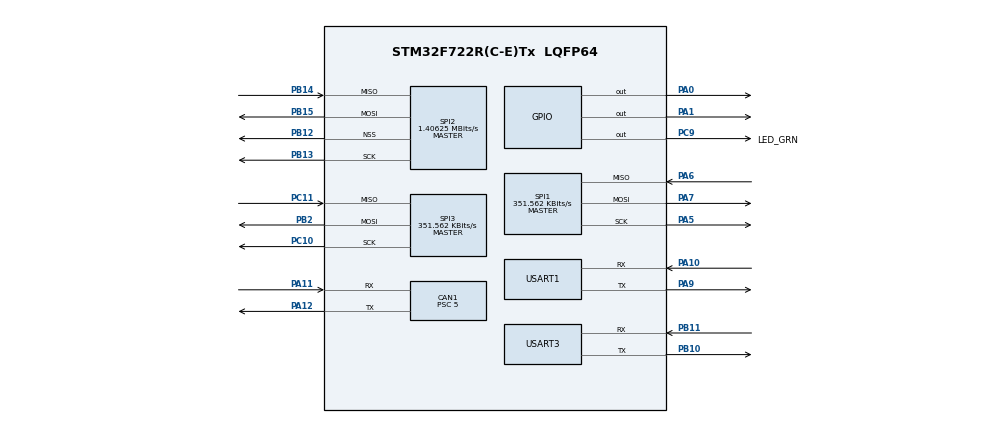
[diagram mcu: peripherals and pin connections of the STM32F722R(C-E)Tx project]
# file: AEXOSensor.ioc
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CAN1.BS1=CAN_BS1_14TQ
CAN1.BS2=CAN_BS2_1TQ
CAN1.CalculateTimeBit=1000
CAN1.CalculateTimeQuantum=111.11111111111111
CAN1.Prescaler=5
Dma.Request0=USART3_RX
Dma.Request1=SPI3_TX
Dma.Request2=SPI3_RX
Dma.Request3=SPI1_TX
Dma.Request4=SPI1_RX
Dma.Request5=SPI2_TX
Dma.Request6=SPI2_RX
Dma.SPI1_RX.4.Direction=DMA_PERIPH_TO_MEMORY
Dma.SPI1_RX.4.FIFOMode=DMA_FIFOMODE_DISABLE
Dma.SPI1_RX.4.Instance=DMA2_Stream0
Dma.SPI1_RX.4.MemDataAlignment=DMA_MDATAALIGN_HALFWORD
Dma.SPI1_RX.4.MemInc=DMA_MINC_ENABLE
Dma.SPI1_RX.4.Mode=DMA_NORMAL
Dma.SPI1_RX.4.PeriphDataAlignment=DMA_PDATAALIGN_HALFWORD
Dma.SPI1_RX.4.PeriphInc=DMA_PINC_DISABLE
Dma.SPI1_RX.4.Priority=DMA_PRIORITY_LOW
Dma.SPI1_TX.3.Direction=DMA_MEMORY_TO_PERIPH
Dma.SPI1_TX.3.FIFOMode=DMA_FIFOMODE_DISABLE
Dma.SPI1_TX.3.Instance=DMA2_Stream3
Dma.SPI1_TX.3.MemDataAlignment=DMA_MDATAALIGN_HALFWORD
Dma.SPI1_TX.3.MemInc=DMA_MINC_ENABLE
Dma.SPI1_TX.3.Mode=DMA_NORMAL
Dma.SPI1_TX.3.PeriphDataAlignment=DMA_PDATAALIGN_HALFWORD
Dma.SPI1_TX.3.PeriphInc=DMA_PINC_DISABLE
Dma.SPI1_TX.3.Priority=DMA_PRIORITY_LOW
Dma.SPI2_RX.6.Direction=DMA_PERIPH_TO_MEMORY
Dma.SPI2_RX.6.FIFOMode=DMA_FIFOMODE_DISABLE
Dma.SPI2_RX.6.Instance=DMA1_Stream3
Dma.SPI2_RX.6.MemDataAlignment=DMA_MDATAALIGN_HALFWORD
Dma.SPI2_RX.6.MemInc=DMA_MINC_ENABLE
Dma.SPI2_RX.6.Mode=DMA_NORMAL
Dma.SPI2_RX.6.PeriphDataAlignment=DMA_PDATAALIGN_HALFWORD
Dma.SPI2_RX.6.PeriphInc=DMA_PINC_DISABLE
Dma.SPI2_RX.6.Priority=DMA_PRIORITY_LOW
Dma.SPI2_TX.5.Direction=DMA_MEMORY_TO_PERIPH
Dma.SPI2_TX.5.FIFOMode=DMA_FIFOMODE_DISABLE
Dma.SPI2_TX.5.Instance=DMA1_Stream4
Dma.SPI2_TX.5.MemDataAlignment=DMA_MDATAALIGN_HALFWORD
Dma.SPI2_TX.5.MemInc=DMA_MINC_ENABLE
Dma.SPI2_TX.5.Mode=DMA_NORMAL
Dma.SPI2_TX.5.PeriphDataAlignment=DMA_PDATAALIGN_HALFWORD
Dma.SPI2_TX.5.PeriphInc=DMA_PINC_DISABLE
Dma.SPI2_TX.5.Priority=DMA_PRIORITY_LOW
Dma.SPI3_RX.2.Direction=DMA_PERIPH_TO_MEMORY
Dma.SPI3_RX.2.FIFOMode=DMA_FIFOMODE_DISABLE
Dma.SPI3_RX.2.Instance=DMA1_Stream0
Dma.SPI3_RX.2.MemDataAlignment=DMA_MDATAALIGN_HALFWORD
Dma.SPI3_RX.2.MemInc=DMA_MINC_ENABLE
Dma.SPI3_RX.2.Mode=DMA_NORMAL
Dma.SPI3_RX.2.PeriphDataAlignment=DMA_PDATAALIGN_HALFWORD
Dma.SPI3_RX.2.PeriphInc=DMA_PINC_DISABLE
Dma.SPI3_RX.2.Priority=DMA_PRIORITY_LOW
Dma.SPI3_TX.1.Direction=DMA_MEMORY_TO_PERIPH
Dma.SPI3_TX.1.FIFOMode=DMA_FIFOMODE_DISABLE
Dma.SPI3_TX.1.Instance=DMA1_Stream5
Dma.SPI3_TX.1.MemDataAlignment=DMA_MDATAALIGN_HALFWORD
Dma.SPI3_TX.1.MemInc=DMA_MINC_ENABLE
Dma.SPI3_TX.1.Mode=DMA_NORMAL
Dma.SPI3_TX.1.PeriphDataAlignment=DMA_PDATAALIGN_HALFWORD
Dma.SPI3_TX.1.PeriphInc=DMA_PINC_DISABLE
Dma.SPI3_TX.1.Priority=DMA_PRIORITY_LOW
Dma.USART3_RX.0.Direction=DMA_PERIPH_TO_MEMORY
Dma.USART3_RX.0.FIFOMode=DMA_FIFOMODE_DISABLE
Dma.USART3_RX.0.Instance=DMA1_Stream1
Dma.USART3_RX.0.MemDataAlignment=DMA_MDATAALIGN_BYTE
Dma.USART3_RX.0.MemInc=DMA_MINC_ENABLE
Dma.USART3_RX.0.Mode=DMA_CIRCULAR
Dma.USART3_RX.0.PeriphDataAlignment=DMA_PDATAALIGN_BYTE
Dma.USART3_RX.0.PeriphInc=DMA_PINC_DISABLE
Dma.USART3_RX.0.Priority=DMA_PRIORITY_LOW
Mcu.Family=STM32F7
Mcu.Name=STM32F722R(C-E)Tx
Mcu.Package=LQFP64
NVIC.CAN1_RX0_IRQn=true\:2\:0\:true\:false\:true\:true\:true
NVIC.DMA1_Stream0_IRQn=true\:0\:0\:false\:false\:true\:false\:true
NVIC.DMA1_Stream1_IRQn=true\:0\:0\:false\:false\:true\:false\:true
NVIC.DMA1_Stream3_IRQn=true\:0\:0\:false\:false\:true\:false\:true
NVIC.DMA1_Stream4_IRQn=true\:0\:0\:false\:false\:true\:false\:true
NVIC.DMA1_Stream5_IRQn=true\:0\:0\:false\:false\:true\:false\:true
NVIC.DMA2_Stream0_IRQn=true\:0\:0\:false\:false\:true\:false\:true
NVIC.DMA2_Stream3_IRQn=true\:0\:0\:false\:false\:true\:false\:true
NVIC.PriorityGroup=NVIC_PRIORITYGROUP_4
NVIC.TIM2_IRQn=true\:3\:0\:true\:false\:true\:true\:true
NVIC.USART1_IRQn=true\:0\:0\:false\:false\:true\:true\:true
PA0-WKUP.Signal=GPIO_Output
PA1.Signal=GPIO_Output
PA10.Mode=Asynchronous
PA10.Signal=USART1_RX
PA11.Mode=Master
PA11.Signal=CAN1_RX
PA12.Mode=Master
PA12.Signal=CAN1_TX
PA13.Mode=JTAG_5_pins
PA13.Signal=SYS_JTMS-SWDIO
PA14.Mode=JTAG_5_pins
PA14.Signal=SYS_JTCK-SWCLK
PA15.Mode=JTAG_5_pins
PA15.Signal=SYS_JTDI
PA5.Mode=Full_Duplex_Master
PA5.Signal=SPI1_SCK
PA6.Mode=Full_Duplex_Master
PA6.Signal=SPI1_MISO
PA7.Mode=Full_Duplex_Master
PA7.Signal=SPI1_MOSI
PA9.Mode=Asynchronous
PA9.Signal=USART1_TX
PB10.Mode=Asynchronous
PB10.Signal=USART3_TX
PB11.Mode=Asynchronous
PB11.Signal=USART3_RX
PB12.Mode=NSS_Signal_Hard_Output
PB12.Signal=SPI2_NSS
PB13.Mode=Full_Duplex_Master
PB13.Signal=SPI2_SCK
PB14.Mode=Full_Duplex_Master
PB14.Signal=SPI2_MISO
PB15.Mode=Full_Duplex_Master
PB15.Signal=SPI2_MOSI
PB2.Mode=Full_Duplex_Master
PB2.Signal=SPI3_MOSI
PB3.Mode=JTAG_5_pins
PB3.Signal=SYS_JTDO-SWO
PB4.Mode=JTAG_5_pins
PB4.Signal=SYS_JTRST
PC10.Mode=Full_Duplex_Master
PC10.Signal=SPI3_SCK
PC11.Mode=Full_Duplex_Master
PC11.Signal=SPI3_MISO
PC9.GPIO_Label=LED_GRN
PC9.Signal=GPIO_Output
PH0-OSC_IN.Mode=HSE-External-Oscillator
PH0-OSC_IN.Signal=RCC_OSC_IN
PH1-OSC_OUT.Mode=HSE-External-Oscillator
PH1-OSC_OUT.Signal=RCC_OSC_OUT
ProjectManager.HeapSize=0x200
ProjectManager.StackSize=0x400
ProjectManager.TargetToolchain=EWARM V8
RCC.AHBFreq_Value=180000000
RCC.APB1CLKDivider=RCC_HCLK_DIV4
RCC.APB1Freq_Value=45000000
RCC.APB1TimFreq_Value=90000000
RCC.APB2CLKDivider=RCC_HCLK_DIV2
RCC.APB2Freq_Value=90000000
RCC.APB2TimFreq_Value=180000000
RCC.CortexFreq_Value=180000000
RCC.HCLKFreq_Value=180000000
RCC.HSE_VALUE=12000000
RCC.HSI_VALUE=16000000
RCC.LSE_VALUE=32768
RCC.PLLM=6
RCC.PLLN=180
RCC.PLLSourceVirtual=RCC_PLLSOURCE_HSE
RCC.SYSCLKFreq_VALUE=180000000
RCC.SYSCLKSource=RCC_SYSCLKSOURCE_PLLCLK
RCC.USBFreq_Value=180000000
RCC.VCOOutputFreq_Value=360000000
SPI1.BaudRatePrescaler=SPI_BAUDRATEPRESCALER_256
SPI1.CLKPhase=SPI_PHASE_2EDGE
SPI1.CLKPolarity=SPI_POLARITY_HIGH
SPI1.CalculateBaudRate=351.562 KBits/s
SPI1.DataSize=SPI_DATASIZE_13BIT
SPI1.Direction=SPI_DIRECTION_2LINES
SPI1.Mode=SPI_MODE_MASTER
SPI1.VirtualType=VM_MASTER
SPI2.BaudRatePrescaler=SPI_BAUDRATEPRESCALER_32
SPI2.CLKPhase=SPI_PHASE_2EDGE
SPI2.CLKPolarity=SPI_POLARITY_HIGH
SPI2.CalculateBaudRate=1.40625 MBits/s
SPI2.DataSize=SPI_DATASIZE_16BIT
SPI2.Direction=SPI_DIRECTION_2LINES
SPI2.Mode=SPI_MODE_MASTER
SPI2.VirtualNSS=VM_NSSHARD
SPI2.VirtualType=VM_MASTER
SPI3.BaudRatePrescaler=SPI_BAUDRATEPRESCALER_128
SPI3.CLKPhase=SPI_PHASE_2EDGE
SPI3.CLKPolarity=SPI_POLARITY_HIGH
SPI3.CalculateBaudRate=351.562 KBits/s
SPI3.DataSize=SPI_DATASIZE_13BIT
SPI3.Direction=SPI_DIRECTION_2LINES
SPI3.Mode=SPI_MODE_MASTER
SPI3.VirtualType=VM_MASTER
TIM1.Period=100
TIM1.Prescaler=1800
TIM2.Period=50
TIM2.Prescaler=1800
USART1.VirtualMode-Asynchronous=VM_ASYNC
USART3.VirtualMode-Asynchronous=VM_ASYNC
USART3.WordLength=WORDLENGTH_8B
VP_TIM1_VS_ClockSourceINT.Mode=Internal
VP_TIM2_VS_ClockSourceINT.Mode=Internal
board=AEXOSensor

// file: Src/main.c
/**
  ******************************************************************************
  * File Name          : main.c
  * Description        : Main program body
  ******************************************************************************
  ** This notice applies to any and all portions of this file
  * that are not between comment pairs USER CODE BEGIN and
  * USER CODE END. Other portions of this file, whether
  * inserted by the user or by software development tools
  * are owned by their respective copyright owners.
  *
  * COPYRIGHT(c) 2018 STMicroelectronics
  *
  * Redistribution and use in source and binary forms, with or without modification,
  * are permitted provided that the following conditions are met:
  *   1. Redistributions of source code must retain the above copyright notice,
  *      this list of conditions and the following disclaimer.
  *   2. Redistributions in binary form must reproduce the above copyright notice,
  *      this list of conditions and the following disclaimer in the documentation
  *      and/or other materials provided with the distribution.
  *   3. Neither the name of STMicroelectronics nor the names of its contributors
  *      may be used to endorse or promote products derived from this software
  *      without specific prior written permission.
  *
  * THIS SOFTWARE IS PROVIDED BY THE COPYRIGHT HOLDERS AND CONTRIBUTORS "AS IS"
  * AND ANY EXPRESS OR IMPLIED WARRANTIES, INCLUDING, BUT NOT LIMITED TO, THE
  * IMPLIED WARRANTIES OF MERCHANTABILITY AND FITNESS FOR A PARTICULAR PURPOSE ARE
  * DISCLAIMED. IN NO EVENT SHALL THE COPYRIGHT HOLDER OR CONTRIBUTORS BE LIABLE
  * FOR ANY DIRECT, INDIRECT, INCIDENTAL, SPECIAL, EXEMPLARY, OR CONSEQUENTIAL
  * DAMAGES (INCLUDING, BUT NOT LIMITED TO, PROCUREMENT OF SUBSTITUTE GOODS OR
  * SERVICES; LOSS OF USE, DATA, OR PROFITS; OR BUSINESS INTERRUPTION) HOWEVER
  * CAUSED AND ON ANY THEORY OF LIABILITY, WHETHER IN CONTRACT, STRICT LIABILITY,
  * OR TORT (INCLUDING NEGLIGENCE OR OTHERWISE) ARISING IN ANY WAY OUT OF THE USE
  * OF THIS SOFTWARE, EVEN IF ADVISED OF THE POSSIBILITY OF SUCH DAMAGE.
  *
  ******************************************************************************
  */

#include "main.h"
#include "stm32f7xx_hal.h"

/* USER CODE BEGIN Includes */
#include "hx_IMU_MTix.h"
#include "hx_AbsEncoder.h"
#include "hx_CANDrv.h"
#include "hx_TorqueLoad.h"
#include "hx_ICD.h"
//#include "hx_qav.h"

/* USER CODE END Includes */

CAN_HandleTypeDef hcan1;

SPI_HandleTypeDef hspi1;
SPI_HandleTypeDef hspi2;
SPI_HandleTypeDef hspi3;
DMA_HandleTypeDef hdma_spi1_tx;
DMA_HandleTypeDef hdma_spi1_rx;
DMA_HandleTypeDef hdma_spi2_tx;
DMA_HandleTypeDef hdma_spi2_rx;
DMA_HandleTypeDef hdma_spi3_tx;
DMA_HandleTypeDef hdma_spi3_rx;

//static TIM_HandleTypeDef htim1;
TIM_HandleTypeDef htim2;

UART_HandleTypeDef huart1;
UART_HandleTypeDef huart3;
DMA_HandleTypeDef hdma_usart3_rx;

/* USER CODE BEGIN PV */
/* Private variables ---------------------------------------------------------*/

static uint8_t Rx_data;//[4];
//static uint32_t Tim2_tick;	//1ms
//static uint32_t Tim2_tick2;	//1ms
static uint32_t LED_tick;	//1ms
uint32_t IMU_tick;	//1ms
static uint16_t LED_BlinkCnt; //pjg++190628
static int8_t uart1_msg[2] = {"12"};
//uint8_t SPI_wTransferState[SPI_NUM_MAX];
//static uint8_t mainWhileCtrl;
//struct Test {
//	uint8_t quit;
//};
//static struct Test test = {
//	.quit = 0,
//};

/* USER CODE END PV */

static void SystemClock_Config(void);
static void MX_GPIO_Init(void);
static void MX_DMA_Init(void);
static void MX_CAN1_Init(void);
static void MX_SPI1_Init(void);
static void MX_SPI2_Init(void);
static void MX_SPI3_Init(void);
static void MX_TIM1_Init(void);
static void MX_USART1_UART_Init(void);
static void MX_USART3_UART_Init(void);
static void MX_TIM2_Init(void);

/* USER CODE BEGIN PFP */
/* Private function prototypes -----------------------------------------------*/

/* USER CODE END PFP */

/* USER CODE BEGIN 0 */
void HAL_UART_RxCpltCallback(UART_HandleTypeDef * huart)
{
	if (huart->Instance == USART3) {
		MTixDrvInfo.pack.buf[MTixDrvInfo.pack.head] = Rx_data;//[2];
		MTixDrvInfo.pack.head++;
		if (MTixDrvInfo.pack.head >= (uint16_t)MTI_RX_BUF_SIZE) {
		  MTixDrvInfo.pack.head = 0;
		}
		pfnMTixDrv_Process();//MTixDrv_Process(); //try to move to main
		(void)HAL_UART_Receive_DMA(huart, (uint8_t *)&Rx_data, 1U);
	}
}

void HAL_SPI_TxRxCpltCallback(SPI_HandleTypeDef *hspi)
{
	float_t2 ftemp;

	if (hspi->Instance == SPI1) {
		AEncDrvInfo[AEDCH_HIP].data = AEncDrvInfo[AEDCH_HIP].read&(uint16_t)ABS_ENC_RES;
		ADCICDrv_Process();
	}
	else if (hspi->Instance == SPI2) {
		HAL_GPIO_WritePin(GPIOC, GPIO_PIN_6, GPIO_PIN_RESET); //ADC_CS
		HAL_GPIO_WritePin(GPIOB, GPIO_PIN_12, GPIO_PIN_RESET); //ADC_CONVERT
		//sensor error check
		TorqDrvInfo[TCDL_LINE1].data = ADCICBuf[ADCIC_BUF_TORQ1]; //torque1
		TorqDrvInfo[TCDL_LINE2].data = ADCICBuf[ADCIC_BUF_TORQ2]; //torque1
		//load cell
		LoadDrvInfo.data = ADCICBuf[ADCIC_BUF_LOAD];
		ftemp = ((float_t2)ADCICBuf[ADCIC_BUF_LOAD]*(float_t2)ADC_INPUT_VOLTAGE_LOAD)/(float_t2)ADC_RESOLUTION;
		LoadDrvInfo.weight = (ftemp-LoadDrvInfo.b) / LoadDrvInfo.a;
	 	AbsEncDrv_Process((uint8_t)AEDCH_KNEE);
	}
	else {
		if (hspi->Instance == SPI3) {
			AEncDrvInfo[AEDCH_KNEE].data = AEncDrvInfo[AEDCH_KNEE].read&(uint16_t)ABS_ENC_RES;
			AbsEncDrv_Process((uint8_t)AEDCH_HIP);
		}
	}
}

void HAL_TIM_PeriodElapsedCallback(TIM_HandleTypeDef *htim)
{
	if (htim->Instance == TIM2) {	//1ms
		pfnSendData();
		if (LED_tick > 0U) {
			LED_tick--;
		}
		if (IMU_tick > 0U) {
			IMU_tick--;
		}
	}
}

static void InitVar(void)
{
	Rx_data = 0;//[4];
	//Tim2_tick = 0; //1ms
	//Tim2_tick2 = 0;	//1ms
	LED_tick = 0;	//1ms
	IMU_tick = 0;	//1ms
	//mainWhileCtrl = 0;
	LED_BlinkCnt = 249;
}
static void DeviceDrv_Init(void)
{
	InitVar(); //pjg++191125
	CANDrv_Init();
	ICD_Init();
	MTixDrv_Init();
	AbsEncDrv_Init((uint8_t)AEDCH_HIP);
	AbsEncDrv_Init((uint8_t)AEDCH_KNEE);
	TorqDrv_Init();
	LoadDrv_Init();
	(void)HAL_UART_Transmit(&huart1, (uint8_t *)&uart1_msg[0], 1U, 1);
}

static void DeviceDrv_Start(void)
{
  	(void)HAL_UART_Receive_DMA(&huart3, (uint8_t *)&Rx_data, 1);

	HAL_GPIO_WritePin(LED_GRN_GPIO_Port, LED_GRN_Pin, GPIO_PIN_SET);
	(void)HAL_UART_Transmit(&huart1, (uint8_t *)&uart1_msg[1], 1U, 1);

 	AbsEncDrv_Process((uint8_t)AEDCH_HIP);
	(void)HAL_TIM_Base_Start_IT(&htim2);	//1ms
	pfnMTixDrv_Start();
	ICD_Start();
}

static void MX_Peri_Init1(void)
{
	MX_GPIO_Init();
	MX_DMA_Init();
	MX_CAN1_Init();
	MX_SPI1_Init();
	MX_SPI2_Init();
	MX_SPI3_Init();
}

static void MX_Peri_Init2(void)
{
	MX_TIM1_Init();
	MX_USART1_UART_Init();
	MX_USART3_UART_Init();
	MX_TIM2_Init();
}

/* USER CODE END 0 */

int main(void)
{

  /* MCU Configuration----------------------------------------------------------*/

  /* Reset of all peripherals, Initializes the Flash interface and the Systick. */
  (void)HAL_Init();

  /* Configure the system clock */
  SystemClock_Config();

  /* Initialize all configured peripherals */
  //MX_GPIO_Init();
  //MX_DMA_Init();
  //MX_CAN1_Init();
  ///MX_SPI1_Init();
  //MX_SPI2_Init();
  //MX_SPI3_Init();
  //MX_TIM1_Init();
  //MX_USART1_UART_Init();
  //MX_USART3_UART_Init();
  //MX_TIM2_Init();

  /* USER CODE BEGIN 2 */
  	MX_Peri_Init1(); //for qav
  	MX_Peri_Init2(); //for qav
  	DeviceDrv_Init();
	DeviceDrv_Start();

  /* USER CODE END 2 */

  /* Infinite loop */
  /* USER CODE BEGIN WHILE */
  while (1)//!mainWhileCtrl)
  {
  /* USER CODE END WHILE */

  /* USER CODE BEGIN 3 */
	//fnNOP();
	  if (LED_tick == 0U) {
		  LED_tick = LED_BlinkCnt;
		  HAL_GPIO_TogglePin(GPIOC, LED_GRN_Pin);
	  }
  }
  //return (0);
  /* USER CODE END 3 */

}

/** System Clock Configuration
*/
static void SystemClock_Config(void)
{
  RCC_OscInitTypeDef RCC_OscInitStruct;
  RCC_ClkInitTypeDef RCC_ClkInitStruct;
  RCC_PeriphCLKInitTypeDef PeriphClkInitStruct;

    /**Configure the main internal regulator output voltage
    */
  __HAL_RCC_PWR_CLK_ENABLE();

  __HAL_PWR_VOLTAGESCALING_CONFIG(PWR_REGULATOR_VOLTAGE_SCALE1);

    /**Initializes the CPU, AHB and APB busses clocks
    */
  RCC_OscInitStruct.OscillatorType = RCC_OSCILLATORTYPE_HSE;
  RCC_OscInitStruct.HSEState = 0x00010000;//RCC_HSE_ON; //for qav
  RCC_OscInitStruct.PLL.PLLState = RCC_PLL_ON;
 RCC_OscInitStruct.PLL.PLLSource = 0x00400000;//RCC_PLLSOURCE_HSE; //for qav
  RCC_OscInitStruct.PLL.PLLM = 6;
  RCC_OscInitStruct.PLL.PLLN = 144;//168;//180;
  RCC_OscInitStruct.PLL.PLLP = RCC_PLLP_DIV2;
  RCC_OscInitStruct.PLL.PLLQ = 2;
  (void)HAL_RCC_OscConfig(&RCC_OscInitStruct);

    /**Initializes the CPU, AHB and APB busses clocks
    */
  RCC_ClkInitStruct.ClockType = RCC_CLOCKTYPE_HCLK|RCC_CLOCKTYPE_SYSCLK
                              |RCC_CLOCKTYPE_PCLK1|RCC_CLOCKTYPE_PCLK2;
  RCC_ClkInitStruct.SYSCLKSource = RCC_SYSCLKSOURCE_PLLCLK;
  RCC_ClkInitStruct.AHBCLKDivider = RCC_SYSCLK_DIV1;
  RCC_ClkInitStruct.APB1CLKDivider = RCC_HCLK_DIV8;//RCC_HCLK_DIV4;
  RCC_ClkInitStruct.APB2CLKDivider = RCC_HCLK_DIV8;//RCC_HCLK_DIV2;

  (void)HAL_RCC_ClockConfig(&RCC_ClkInitStruct, FLASH_LATENCY_5);

  PeriphClkInitStruct.PeriphClockSelection = RCC_PERIPHCLK_USART1|RCC_PERIPHCLK_USART3;
  PeriphClkInitStruct.Usart1ClockSelection = RCC_USART1CLKSOURCE_PCLK2;
  PeriphClkInitStruct.Usart3ClockSelection = RCC_USART3CLKSOURCE_PCLK1;
  (void)HAL_RCCEx_PeriphCLKConfig(&PeriphClkInitStruct);

    /**Configure the Systick interrupt time
    */
  (void)HAL_SYSTICK_Config(HAL_RCC_GetHCLKFreq()/(uint32_t)1000);

    /**Configure the Systick
    */
  HAL_SYSTICK_CLKSourceConfig(SYSTICK_CLKSOURCE_HCLK);

  /* SysTick_IRQn interrupt configuration */
  HAL_NVIC_SetPriority(SysTick_IRQn, 0, 0);
}

#define USR_CAN_BTR_TS1_Pos        (16U)
#define USR_CAN_BTR_TS1_1          (uint32_t)((uint32_t)0x00000002U << USR_CAN_BTR_TS1_Pos)
#define USR_CAN_BS1_3TQ            ((uint32_t)USR_CAN_BTR_TS1_1)
#define USR_CAN_BTR_TS2_Pos        (20U)
#define USR_CAN_BTR_TS2_0          (uint32_t)((uint32_t)0x00000001U << USR_CAN_BTR_TS2_Pos)
#define USR_CAN_BS2_2TQ            ((uint32_t)USR_CAN_BTR_TS2_0)

/* CAN1 init function */
static void MX_CAN1_Init(void)
{

  hcan1.Instance = CAN1;
  hcan1.Init.Prescaler = 3;
  hcan1.Init.Mode = CAN_MODE_NORMAL;
  hcan1.Init.SyncJumpWidth  = CAN_SJW_1TQ;
  //hcan1.Init.BS1 = CAN_BS1_3TQ;//CAN_BS1_7TQ;
  hcan1.Init.TimeSeg1 = USR_CAN_BS1_3TQ;
  hcan1.Init.TimeSeg2 = USR_CAN_BS2_2TQ;//CAN_BS2_1TQ;
  hcan1.Init.TimeTriggeredMode = DISABLE;
  hcan1.Init.AutoBusOff = DISABLE;
  hcan1.Init.AutoWakeUp = DISABLE;
  hcan1.Init.AutoRetransmission = DISABLE;
  hcan1.Init.ReceiveFifoLocked = DISABLE;
  hcan1.Init.TransmitFifoPriority = DISABLE;
  (void)HAL_CAN_Init(&hcan1);

}

/* SPI1 init function */
static void MX_SPI1_Init(void)
{
  /* SPI1 parameter configuration*/
  hspi1.Instance = SPI1;
  hspi1.Init.Mode = SPI_MODE_MASTER;
  hspi1.Init.Direction = SPI_DIRECTION_2LINES;
  hspi1.Init.DataSize = SPI_DATASIZE_13BIT;
  hspi1.Init.CLKPolarity = 0x00000002;//SPI_POLARITY_HIGH; //for qav
  hspi1.Init.CLKPhase = 0x00000001;//SPI_PHASE_2EDGE; //for qav
  hspi1.Init.NSS = 0x00000200;//SPI_NSS_SOFT; //for qav
  hspi1.Init.BaudRatePrescaler = SPI_BAUDRATEPRESCALER_256;
  hspi1.Init.FirstBit = SPI_FIRSTBIT_MSB;
  hspi1.Init.TIMode = SPI_TIMODE_DISABLE;
  hspi1.Init.CRCCalculation = SPI_CRCCALCULATION_DISABLE;
  hspi1.Init.CRCPolynomial = 7;
  hspi1.Init.CRCLength = SPI_CRC_LENGTH_DATASIZE;
  hspi1.Init.NSSPMode = SPI_NSS_PULSE_DISABLE;
  (void)HAL_SPI_Init(&hspi1);
}

/* SPI2 init function */
static void MX_SPI2_Init(void)
{
  /* SPI2 parameter configuration*/
  hspi2.Instance = SPI2;
  hspi2.Init.Mode = SPI_MODE_MASTER;
  hspi2.Init.Direction = SPI_DIRECTION_2LINES;
  hspi2.Init.DataSize = SPI_DATASIZE_16BIT;
  hspi2.Init.CLKPolarity = 0x00000002;//SPI_POLARITY_HIGH; //for qav
  hspi2.Init.CLKPhase = 0x00000001;//SPI_PHASE_2EDGE; //for qav
  hspi2.Init.NSS = SPI_NSS_HARD_OUTPUT;
  hspi2.Init.BaudRatePrescaler = SPI_BAUDRATEPRESCALER_16;//SPI_BAUDRATEPRESCALER_32;
  hspi2.Init.FirstBit = SPI_FIRSTBIT_MSB;
  hspi2.Init.TIMode = SPI_TIMODE_DISABLE;
  hspi2.Init.CRCCalculation = SPI_CRCCALCULATION_DISABLE;
  hspi2.Init.CRCPolynomial = 7;
  hspi2.Init.CRCLength = SPI_CRC_LENGTH_DATASIZE;
  hspi2.Init.NSSPMode = SPI_NSS_PULSE_DISABLE;
  (void)HAL_SPI_Init(&hspi2);
}

/* SPI3 init function */
static void MX_SPI3_Init(void)
{
  /* SPI3 parameter configuration*/
  hspi3.Instance = SPI3;
  hspi3.Init.Mode = SPI_MODE_MASTER;
  hspi3.Init.Direction = SPI_DIRECTION_2LINES;
  hspi3.Init.DataSize = SPI_DATASIZE_13BIT;
  hspi3.Init.CLKPolarity = 0x00000002;//SPI_POLARITY_HIGH; //for qav
  hspi3.Init.CLKPhase = 0x00000001; //SPI_PHASE_2EDGE; //for qav
  hspi3.Init.NSS = 0x00000200; //SPI_NSS_SOFT; //for qav
  hspi3.Init.BaudRatePrescaler = SPI_BAUDRATEPRESCALER_256;//SPI_BAUDRATEPRESCALER_128;
  hspi3.Init.FirstBit = SPI_FIRSTBIT_MSB;
  hspi3.Init.TIMode = SPI_TIMODE_DISABLE;
  hspi3.Init.CRCCalculation = SPI_CRCCALCULATION_DISABLE;
  hspi3.Init.CRCPolynomial = 7;
  hspi3.Init.CRCLength = SPI_CRC_LENGTH_DATASIZE;
  hspi3.Init.NSSPMode = SPI_NSS_PULSE_DISABLE;
  (void)HAL_SPI_Init(&hspi3);
}

/* TIM1 init function */
static void MX_TIM1_Init(void)
{
  TIM_ClockConfigTypeDef sClockSourceConfig;
  TIM_MasterConfigTypeDef sMasterConfig;
  static TIM_HandleTypeDef htim1;
  htim1.Instance = TIM1;
  htim1.Init.Prescaler = 360;//1800;//225;//1800;
  htim1.Init.CounterMode = TIM_COUNTERMODE_UP;
  htim1.Init.Period = 100;//100;
  htim1.Init.ClockDivision = TIM_CLOCKDIVISION_DIV1;
  htim1.Init.RepetitionCounter = 0;
  htim1.Init.AutoReloadPreload = TIM_AUTORELOAD_PRELOAD_DISABLE;
  (void)HAL_TIM_Base_Init(&htim1);// != HAL_OK)

  sClockSourceConfig.ClockSource = 0x1000; //TIM_CLOCKSOURCE_INTERNAL; // for qav
  (void)HAL_TIM_ConfigClockSource(&htim1, &sClockSourceConfig);

  sMasterConfig.MasterOutputTrigger = TIM_TRGO_RESET;
  sMasterConfig.MasterOutputTrigger2 = TIM_TRGO2_RESET;
  sMasterConfig.MasterSlaveMode = TIM_MASTERSLAVEMODE_DISABLE;
  (void)HAL_TIMEx_MasterConfigSynchronization(&htim1, &sMasterConfig);

}

/* TIM2 init function */
static void MX_TIM2_Init(void)
{

  TIM_ClockConfigTypeDef sClockSourceConfig;
  TIM_MasterConfigTypeDef sMasterConfig;

  htim2.Instance = TIM2;
  htim2.Init.Prescaler = 360;//1800;//225;//1800;
  htim2.Init.CounterMode = TIM_COUNTERMODE_UP;
  htim2.Init.Period = 100;//50;
  htim2.Init.ClockDivision = TIM_CLOCKDIVISION_DIV1;
  htim2.Init.AutoReloadPreload = TIM_AUTORELOAD_PRELOAD_DISABLE;
  (void)HAL_TIM_Base_Init(&htim2);// != HAL_OK)

  sClockSourceConfig.ClockSource = 0x1000; //TIM_CLOCKSOURCE_INTERNAL; //for qav
  (void)HAL_TIM_ConfigClockSource(&htim2, &sClockSourceConfig);

  sMasterConfig.MasterOutputTrigger = TIM_TRGO_RESET;
  sMasterConfig.MasterSlaveMode = TIM_MASTERSLAVEMODE_DISABLE;
  (void)HAL_TIMEx_MasterConfigSynchronization(&htim2, &sMasterConfig);
}

/* USART1 init function */
static void MX_USART1_UART_Init(void)
{

  huart1.Instance = USART1;
  huart1.Init.BaudRate = 115200;
  huart1.Init.WordLength = UART_WORDLENGTH_7B;
  huart1.Init.StopBits = UART_STOPBITS_1;
  huart1.Init.Parity = UART_PARITY_NONE;
  huart1.Init.Mode = UART_MODE_TX_RX;
  huart1.Init.HwFlowCtl = UART_HWCONTROL_NONE;
  huart1.Init.OverSampling = UART_OVERSAMPLING_16;
  huart1.Init.OneBitSampling = UART_ONE_BIT_SAMPLE_DISABLE;
  huart1.AdvancedInit.AdvFeatureInit = UART_ADVFEATURE_NO_INIT;
  (void)HAL_UART_Init(&huart1);
}

/* USART3 init function */
static void MX_USART3_UART_Init(void)
{

  huart3.Instance = USART3;
  huart3.Init.BaudRate = 115200;
  huart3.Init.WordLength = UART_WORDLENGTH_8B;
  huart3.Init.StopBits = UART_STOPBITS_1;
  huart3.Init.Parity = 0x00000000U;//UART_PARITY_NONE; //for qav
  huart3.Init.Mode = UART_MODE_TX_RX;
  huart3.Init.HwFlowCtl = UART_HWCONTROL_NONE;
  huart3.Init.OverSampling = UART_OVERSAMPLING_16;
  huart3.Init.OneBitSampling = UART_ONE_BIT_SAMPLE_DISABLE;
  huart3.AdvancedInit.AdvFeatureInit = UART_ADVFEATURE_NO_INIT;
  (void)HAL_UART_Init(&huart3);

}

static void MX_DMA_Init(void)
{
  /* DMA controller clock enable */
  __HAL_RCC_DMA1_CLK_ENABLE();
  __HAL_RCC_DMA2_CLK_ENABLE();

  /* DMA interrupt init */
  /* DMA1_Stream0_IRQn interrupt configuration */
  HAL_NVIC_SetPriority(DMA1_Stream0_IRQn, 0, 0);
  HAL_NVIC_EnableIRQ(DMA1_Stream0_IRQn);
  /* DMA1_Stream1_IRQn interrupt configuration */
  HAL_NVIC_SetPriority(DMA1_Stream1_IRQn, 0, 0);
  HAL_NVIC_EnableIRQ(DMA1_Stream1_IRQn);
  /* DMA1_Stream3_IRQn interrupt configuration */
  HAL_NVIC_SetPriority(DMA1_Stream3_IRQn, 0, 0);
  HAL_NVIC_EnableIRQ(DMA1_Stream3_IRQn);
  /* DMA1_Stream4_IRQn interrupt configuration */
  HAL_NVIC_SetPriority(DMA1_Stream4_IRQn, 0, 0);
  HAL_NVIC_EnableIRQ(DMA1_Stream4_IRQn);
  /* DMA1_Stream5_IRQn interrupt configuration */
  HAL_NVIC_SetPriority(DMA1_Stream5_IRQn, 0, 0);
  HAL_NVIC_EnableIRQ(DMA1_Stream5_IRQn);
  /* DMA2_Stream0_IRQn interrupt configuration */
  HAL_NVIC_SetPriority(DMA2_Stream0_IRQn, 0, 0);
  HAL_NVIC_EnableIRQ(DMA2_Stream0_IRQn);
  /* DMA2_Stream3_IRQn interrupt configuration */
  HAL_NVIC_SetPriority(DMA2_Stream3_IRQn, 0, 0);
  HAL_NVIC_EnableIRQ(DMA2_Stream3_IRQn);

}

/** Configure pins as
        * Analog
        * Input
        * Output
        * EVENT_OUT
        * EXTI
*/
static void MX_GPIO_Init(void)
{

  GPIO_InitTypeDef GPIO_InitStruct;

  /* GPIO Ports Clock Enable */
  __HAL_RCC_GPIOH_CLK_ENABLE();
  __HAL_RCC_GPIOA_CLK_ENABLE();
  __HAL_RCC_GPIOB_CLK_ENABLE();
  __HAL_RCC_GPIOC_CLK_ENABLE();

  /*Configure GPIO pin Output Level */
  HAL_GPIO_WritePin(GPIOA, GPIO_PIN_0|GPIO_PIN_1, GPIO_PIN_RESET);

  /*Configure GPIO pin Output Level */
  HAL_GPIO_WritePin(GPIOC, LED_GRN_Pin, GPIO_PIN_RESET);

  /*Configure GPIO pins : PA0 PA1 */
  GPIO_InitStruct.Pin = GPIO_PIN_0|GPIO_PIN_1;
  GPIO_InitStruct.Mode = GPIO_MODE_OUTPUT_PP;
  GPIO_InitStruct.Pull = GPIO_NOPULL;
  GPIO_InitStruct.Speed = GPIO_SPEED_FREQ_LOW;
  HAL_GPIO_Init(GPIOA, &GPIO_InitStruct);

  /*Configure GPIO pin : LED_GRN_Pin */
  GPIO_InitStruct.Pin = LED_GRN_Pin;
  GPIO_InitStruct.Mode = GPIO_MODE_OUTPUT_PP;
  GPIO_InitStruct.Pull = GPIO_NOPULL;
  GPIO_InitStruct.Speed = GPIO_SPEED_FREQ_LOW;
  HAL_GPIO_Init(GPIOC, &GPIO_InitStruct);

}

void _Error_Handler(char * file, int_t line)
{
  /* USER CODE BEGIN Error_Handler_Debug */
  /* User can add his own implementation to report the HAL error return state */
	(void)HAL_UART_Transmit(&huart3, (uint8_t *)file, (uint16_t)line, (uint32_t)line);

  while(1)
  {
  }
  /* USER CODE END Error_Handler_Debug */
}

/************************ (C) COPYRIGHT STMicroelectronics *****END OF FILE****/
